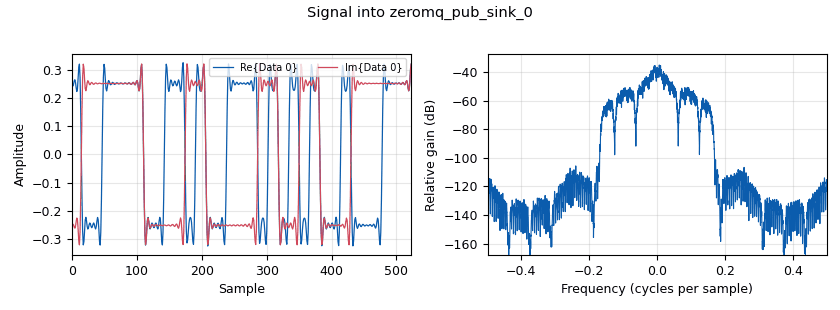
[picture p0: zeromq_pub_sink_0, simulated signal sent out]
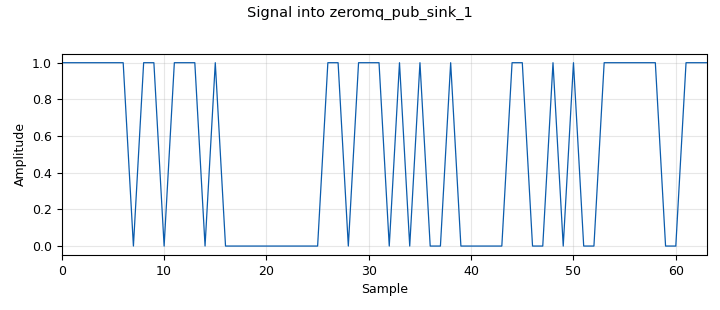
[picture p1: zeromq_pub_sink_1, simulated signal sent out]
options:
  parameters:
    generate_options: no_gui
    id: satellite_advanced
    output_language: python
    run_command: '{python} {filename}'
    title: Satellite Reliability Model
  states: {}

blocks:
- name: samp_rate
  id: variable
  parameters:
    value: '1023000'
  states: {}
- name: analog_random_source_x_0
  id: analog_random_source_x
  parameters:
    max: '2'
    min: '0'
    num_samps: '1000'
    repeat: 'True'
    type: byte
  states: {}
- name: blocks_multiply_const_vxx_0
  id: blocks_multiply_const_vxx
  parameters:
    const: 10**(-15/20.0)
    type: complex
  states: {}
- name: blocks_throttle_0
  id: blocks_throttle
  parameters:
    samples_per_second: samp_rate
    type: complex
  states: {}
- name: blocks_throttle_0_0
  id: blocks_throttle
  parameters:
    alias: throttle_bits
    comment: throttle_bits
    samples_per_second: samp_rate
    type: byte
  states: {}
- name: digital_constellation_modulator_0
  id: digital_constellation_modulator
  parameters:
    constellation: digital.qpsk_constellation()
    differential: 'True'
    excess_bw: '0.35'
    samples_per_symbol: '4'
  states: {}
- name: qtgui_freq_sink_x_0
  id: qtgui_freq_sink_x
  parameters:
    bw: samp_rate
    fc: '0'
    fftsize: '1024'
    name: Spectre Galileo SAR Pur
    type: complex
  states: {state: disabled}
- name: zeromq_pub_sink_0
  id: zeromq_pub_sink
  parameters:
    address: tcp://127.0.0.1:5555
    timeout: '100'
    type: complex
  states: {}
- name: zeromq_pub_sink_1
  id: zeromq_pub_sink
  parameters:
    address: tcp://127.0.0.1:5557
    timeout: '100'
    type: byte
  states: {}

connections:
- [analog_random_source_x_0, '0', blocks_throttle_0_0, '0']
- [analog_random_source_x_0, '0', digital_constellation_modulator_0, '0']
- [blocks_multiply_const_vxx_0, '0', qtgui_freq_sink_x_0, '0']
- [blocks_multiply_const_vxx_0, '0', zeromq_pub_sink_0, '0']
- [blocks_throttle_0, '0', blocks_multiply_const_vxx_0, '0']
- [blocks_throttle_0_0, '0', zeromq_pub_sink_1, '0']
- [digital_constellation_modulator_0, '0', blocks_throttle_0, '0']

metadata:
  file_format: 1
